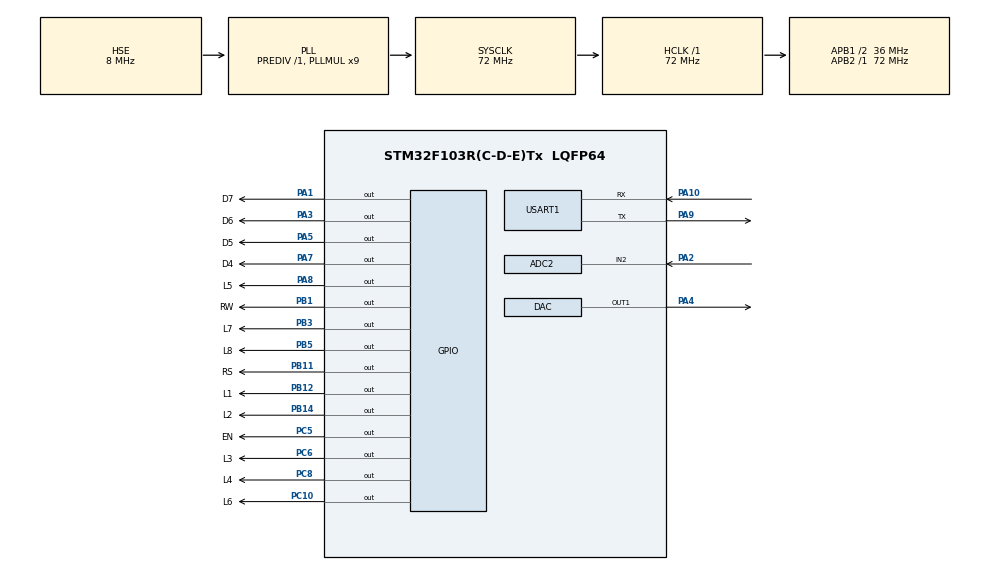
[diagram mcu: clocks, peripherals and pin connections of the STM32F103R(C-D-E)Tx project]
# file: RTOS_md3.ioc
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ADC1.Channel-1\#ChannelRegularConversion=ADC_CHANNEL_TEMPSENSOR
ADC1.ContinuousConvMode=ENABLE
ADC1.ExternalTrigConv=ADC_SOFTWARE_START
ADC1.NbrOfConversion=1
ADC1.NbrOfConversionFlag=1
ADC1.Rank-1\#ChannelRegularConversion=1
ADC1.SamplingTime-1\#ChannelRegularConversion=ADC_SAMPLETIME_239CYCLES_5
ADC1.master=1
ADC2.Channel-1\#ChannelRegularConversion=ADC_CHANNEL_2
ADC2.NbrOfConversionFlag=1
ADC2.Rank-1\#ChannelRegularConversion=1
ADC2.SamplingTime-1\#ChannelRegularConversion=ADC_SAMPLETIME_1CYCLE_5
DAC.DAC_Trigger=DAC_TRIGGER_T2_TRGO
Dma.DAC_CH1.0.Direction=DMA_MEMORY_TO_PERIPH
Dma.DAC_CH1.0.Instance=DMA2_Channel3
Dma.DAC_CH1.0.MemDataAlignment=DMA_MDATAALIGN_WORD
Dma.DAC_CH1.0.MemInc=DMA_MINC_ENABLE
Dma.DAC_CH1.0.Mode=DMA_CIRCULAR
Dma.DAC_CH1.0.PeriphDataAlignment=DMA_PDATAALIGN_WORD
Dma.DAC_CH1.0.PeriphInc=DMA_PINC_DISABLE
Dma.DAC_CH1.0.Priority=DMA_PRIORITY_LOW
Dma.Request0=DAC_CH1
FREERTOS.Tasks01=Task01,0,300,Task01_8led,Default,NULL,Dynamic,NULL,NULL;Task02,3,3000,Task02_temp,Default,NULL,Dynamic,NULL,NULL;Task03,0,200,Task03_DAC,Default,NULL,Dynamic,NULL,NULL;Task04,3,2500,Task04_LCD,Default,NULL,Dynamic,NULL,NULL
FREERTOS.configMINIMAL_STACK_SIZE=64
FREERTOS.configTOTAL_HEAP_SIZE=32768
FREERTOS.configUSE_NEWLIB_REENTRANT=1
Mcu.Family=STM32F1
Mcu.Name=STM32F103R(C-D-E)Tx
Mcu.Package=LQFP64
NVIC.DMA2_Channel3_IRQn=true\:5\:0\:false\:false\:true\:true\:false\:true\:true
NVIC.PriorityGroup=NVIC_PRIORITYGROUP_4
PA1.GPIO_Label=D7
PA1.Signal=GPIO_Output
PA10.Mode=Asynchronous
PA10.Signal=USART1_RX
PA13.Mode=Serial_Wire
PA13.Signal=SYS_JTMS-SWDIO
PA14.Mode=Serial_Wire
PA14.Signal=SYS_JTCK-SWCLK
PA2.Signal=ADCx_IN2
PA3.GPIO_Label=D6
PA3.Signal=GPIO_Output
PA4.Signal=COMP_DAC1_group
PA5.GPIO_Label=D5
PA5.Signal=GPIO_Output
PA7.GPIO_Label=D4
PA7.Signal=GPIO_Output
PA8.GPIO_Label=L5
PA8.Signal=GPIO_Output
PA9.Mode=Asynchronous
PA9.Signal=USART1_TX
PB1.GPIO_Label=RW
PB1.Signal=GPIO_Output
PB11.GPIO_Label=RS
PB11.Signal=GPIO_Output
PB12.GPIO_Label=L1
PB12.Signal=GPIO_Output
PB14.GPIO_Label=L2
PB14.Signal=GPIO_Output
PB3.GPIO_Label=L7
PB3.Signal=GPIO_Output
PB5.GPIO_Label=L8
PB5.Signal=GPIO_Output
PC10.GPIO_Label=L6
PC10.Signal=GPIO_Output
PC5.GPIO_Label=EN
PC5.Signal=GPIO_Output
PC6.GPIO_Label=L3
PC6.Signal=GPIO_Output
PC8.GPIO_Label=L4
PC8.Signal=GPIO_Output
PD0-OSC_IN.Mode=HSE-External-Oscillator
PD0-OSC_IN.Signal=RCC_OSC_IN
PD1-OSC_OUT.Mode=HSE-External-Oscillator
PD1-OSC_OUT.Signal=RCC_OSC_OUT
ProjectManager.HeapSize=0x200
ProjectManager.StackSize=0x400
ProjectManager.TargetToolchain=STM32CubeIDE
RCC.ADCPresc=RCC_ADCPCLK2_DIV6
RCC.AHBFreq_Value=72000000
RCC.APB1CLKDivider=RCC_HCLK_DIV2
RCC.APB1Freq_Value=36000000
RCC.APB1TimFreq_Value=72000000
RCC.APB2Freq_Value=72000000
RCC.APB2TimFreq_Value=72000000
RCC.HCLKFreq_Value=72000000
RCC.PLLMUL=RCC_PLL_MUL9
RCC.PLLSourceVirtual=RCC_PLLSOURCE_HSE
RCC.SYSCLKFreq_VALUE=72000000
RCC.SYSCLKSource=RCC_SYSCLKSOURCE_PLLCLK
RCC.USBFreq_Value=72000000
SH.ADCx_IN2.0=ADC2_IN2,IN2
SH.COMP_DAC1_group.0=DAC_OUT1,DAC_OUT1
TIM2.AutoReloadPreload=TIM_AUTORELOAD_PRELOAD_ENABLE
TIM2.Period=1999
TIM2.Prescaler=179
TIM2.TIM_MasterOutputTrigger=TIM_TRGO_UPDATE
USART1.VirtualMode=VM_ASYNC
VP_ADC1_TempSens_Input.Mode=IN-TempSens
VP_FREERTOS_VS_CMSIS_V1.Mode=CMSIS_V1
VP_TIM2_VS_ClockSourceINT.Mode=Internal
board=custom

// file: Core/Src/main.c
/* USER CODE BEGIN Header */
/**
  ******************************************************************************
  * @file           : main.c
  * @brief          : Main program body
  ******************************************************************************
  * @attention
  *
  * Copyright (c) 2023 STMicroelectronics.
  * All rights reserved.
  *
  * This software is licensed under terms that can be found in the LICENSE file
  * in the root directory of this software component.
  * If no LICENSE file comes with this software, it is provided AS-IS.
  *
  ******************************************************************************
  */
/* USER CODE END Header */
#include "main.h"
#include "cmsis_os.h"

/* USER CODE BEGIN Includes */
#define NS 100
#define PI 3.14159254
/* USER CODE END Includes */

ADC_HandleTypeDef hadc1;
ADC_HandleTypeDef hadc2;

DAC_HandleTypeDef hdac;
DMA_HandleTypeDef hdma_dac_ch1;

TIM_HandleTypeDef htim2;

UART_HandleTypeDef huart1;

osThreadId Task01Handle;
osThreadId Task02Handle;
osThreadId Task03Handle;
osThreadId Task04Handle;
/* USER CODE BEGIN PV */
float adc_value,adc_value_POT;
float vol,vol_pot;
float temp;
uint8_t data_send[25];
uint8_t data_send_LCD[16];
uint32_t value[NS];
uint8_t binary[8];
/* USER CODE END PV */

void SystemClock_Config(void);
static void MX_GPIO_Init(void);
static void MX_DMA_Init(void);
static void MX_ADC1_Init(void);
static void MX_USART1_UART_Init(void);
static void MX_DAC_Init(void);
static void MX_TIM2_Init(void);
static void MX_ADC2_Init(void);
void Task01_8led(void const * argument);
void Task02_temp(void const * argument);
void Task03_DAC(void const * argument);
void Task04_LCD(void const * argument);

/* USER CODE BEGIN 0 */
void chuyen_binary(int decimal)
{
	for(int i = 0; i < 8; i++)
	{
		binary[i]= decimal%2;
		decimal/=2;
	}
}

void get_value(void)
{
	for (int x=0; x < NS; x++){
		value[x]=(495*sin(x*2*PI/NS)+1800);//1864
	}
}

void write_To_LCD_4bits(uint8_t rs, uint8_t data){
	uint8_t i;
	HAL_GPIO_WritePin(RS_GPIO_Port, RS_Pin, rs);
	HAL_GPIO_WritePin(RW_GPIO_Port, RW_Pin, 0);
	HAL_GPIO_WritePin(EN_GPIO_Port, EN_Pin, 1);

	HAL_GPIO_WritePin(D7_GPIO_Port,D7_Pin,((data>>3)&0x01));
	HAL_GPIO_WritePin(D6_GPIO_Port,D6_Pin,((data>>2)&0x01));
	HAL_GPIO_WritePin(D5_GPIO_Port,D5_Pin,((data>>1)&0x01));
	HAL_GPIO_WritePin(D4_GPIO_Port,D4_Pin,((data>>0)&0x01));
	for(i = 0; i< 72; i++){
		asm("NOP");// delay khoảng 1-2us
	}

	HAL_GPIO_WritePin(EN_GPIO_Port, EN_Pin, 0);
	HAL_Delay(2);
}

void send_Command(uint8_t data){// vì dùng 4bit nên phải gửi 2 lần, nếu dùng 8bit thì chỉ cần gửi 1 lần
	write_To_LCD_4bits(0, (data>>4)&0x0f);
	write_To_LCD_4bits(0, (data>>0)&0x0f);
	HAL_Delay(2);
}

void lcd_Send_Data(uint8_t data){ // hàm viết được 1 kí tự
	write_To_LCD_4bits(1, (data>>4)&0x0f);
	write_To_LCD_4bits(1, (data>>0)&0x0f);
	HAL_Delay(2);
}

void lcd_display(uint8_t *data, uint8_t len)
{
	for (uint8_t j = 0; j < len; j++)
	{
		lcd_Send_Data(data[j]);
	}
}

void lcd_gotoxy(uint8_t row, uint8_t col){//set địa chỉ con tr�?
	uint8_t coordinates;
	switch(row){
	case 0:
		coordinates = col | 0x80;
		break;
	case 1:
		coordinates = col | 0xC0;
		break;
	default: coordinates = col | 0x80;
	}
	send_Command(coordinates);
}

void lcd_clear()
{
	send_Command(0x01);
	HAL_Delay(20);
}

void lcd_init(void)
{

	send_Command(0x28); // gui che do 4 bit 2line
	HAL_Delay(40);
	send_Command(0x28); // gui che do 4 bit 2line
	HAL_Delay(40);
	send_Command(0x0C); // hien thi lcd tat con tro
	HAL_Delay(1);
	send_Command(0x06); // che do tu tang con tro
	HAL_Delay(1);
	send_Command(0x01); // xoa man hinh
	HAL_Delay(20);
}
/* USER CODE END 0 */

int main(void)
{

  /* MCU Configuration--------------------------------------------------------*/

  /* Reset of all peripherals, Initializes the Flash interface and the Systick. */
  HAL_Init();

  /* Configure the system clock */
  SystemClock_Config();

  /* Initialize all configured peripherals */
  MX_GPIO_Init();
  MX_DMA_Init();
  MX_ADC1_Init();
  MX_USART1_UART_Init();
  MX_DAC_Init();
  MX_TIM2_Init();
  MX_ADC2_Init();

  /* Create the thread(s) */
  /* definition and creation of Task01 */
  osThreadDef(Task01, Task01_8led, osPriorityNormal, 0, 300);
  Task01Handle = osThreadCreate(osThread(Task01), NULL);

  /* definition and creation of Task02 */
  osThreadDef(Task02, Task02_temp, osPriorityRealtime, 0, 3000);
  Task02Handle = osThreadCreate(osThread(Task02), NULL);

  /* definition and creation of Task03 */
  osThreadDef(Task03, Task03_DAC, osPriorityNormal, 0, 200);
  Task03Handle = osThreadCreate(osThread(Task03), NULL);

  /* definition and creation of Task04 */
  osThreadDef(Task04, Task04_LCD, osPriorityRealtime, 0, 2500);
  Task04Handle = osThreadCreate(osThread(Task04), NULL);

  /* Start scheduler */
  osKernelStart();

  /* We should never get here as control is now taken by the scheduler */
  /* Infinite loop */
  while (1)
  {

  }
}

void SystemClock_Config(void)
{
  RCC_OscInitTypeDef RCC_OscInitStruct = {0};
  RCC_ClkInitTypeDef RCC_ClkInitStruct = {0};
  RCC_PeriphCLKInitTypeDef PeriphClkInit = {0};

  /** Initializes the RCC Oscillators according to the specified parameters
  * in the RCC_OscInitTypeDef structure.
  */
  RCC_OscInitStruct.OscillatorType = RCC_OSCILLATORTYPE_HSE;
  RCC_OscInitStruct.HSEState = RCC_HSE_ON;
  RCC_OscInitStruct.HSEPredivValue = RCC_HSE_PREDIV_DIV1;
  RCC_OscInitStruct.HSIState = RCC_HSI_ON;
  RCC_OscInitStruct.PLL.PLLState = RCC_PLL_ON;
  RCC_OscInitStruct.PLL.PLLSource = RCC_PLLSOURCE_HSE;
  RCC_OscInitStruct.PLL.PLLMUL = RCC_PLL_MUL9;
  if (HAL_RCC_OscConfig(&RCC_OscInitStruct) != HAL_OK)
  {
    Error_Handler();
  }

  /** Initializes the CPU, AHB and APB buses clocks
  */
  RCC_ClkInitStruct.ClockType = RCC_CLOCKTYPE_HCLK|RCC_CLOCKTYPE_SYSCLK
                              |RCC_CLOCKTYPE_PCLK1|RCC_CLOCKTYPE_PCLK2;
  RCC_ClkInitStruct.SYSCLKSource = RCC_SYSCLKSOURCE_PLLCLK;
  RCC_ClkInitStruct.AHBCLKDivider = RCC_SYSCLK_DIV1;
  RCC_ClkInitStruct.APB1CLKDivider = RCC_HCLK_DIV2;
  RCC_ClkInitStruct.APB2CLKDivider = RCC_HCLK_DIV1;

  if (HAL_RCC_ClockConfig(&RCC_ClkInitStruct, FLASH_LATENCY_2) != HAL_OK)
  {
    Error_Handler();
  }
  PeriphClkInit.PeriphClockSelection = RCC_PERIPHCLK_ADC;
  PeriphClkInit.AdcClockSelection = RCC_ADCPCLK2_DIV6;
  if (HAL_RCCEx_PeriphCLKConfig(&PeriphClkInit) != HAL_OK)
  {
    Error_Handler();
  }
}

static void MX_ADC1_Init(void)
{

  ADC_ChannelConfTypeDef sConfig = {0};

  /** Common config
  */
  hadc1.Instance = ADC1;
  hadc1.Init.ScanConvMode = ADC_SCAN_DISABLE;
  hadc1.Init.ContinuousConvMode = ENABLE;
  hadc1.Init.DiscontinuousConvMode = DISABLE;
  hadc1.Init.ExternalTrigConv = ADC_SOFTWARE_START;
  hadc1.Init.DataAlign = ADC_DATAALIGN_RIGHT;
  hadc1.Init.NbrOfConversion = 1;
  if (HAL_ADC_Init(&hadc1) != HAL_OK)
  {
    Error_Handler();
  }

  /** Configure Regular Channel
  */
  sConfig.Channel = ADC_CHANNEL_TEMPSENSOR;
  sConfig.Rank = ADC_REGULAR_RANK_1;
  sConfig.SamplingTime = ADC_SAMPLETIME_239CYCLES_5;
  if (HAL_ADC_ConfigChannel(&hadc1, &sConfig) != HAL_OK)
  {
    Error_Handler();
  }

}

static void MX_ADC2_Init(void)
{

  ADC_ChannelConfTypeDef sConfig = {0};

  /** Common config
  */
  hadc2.Instance = ADC2;
  hadc2.Init.ScanConvMode = ADC_SCAN_DISABLE;
  hadc2.Init.ContinuousConvMode = DISABLE;
  hadc2.Init.DiscontinuousConvMode = DISABLE;
  hadc2.Init.ExternalTrigConv = ADC_SOFTWARE_START;
  hadc2.Init.DataAlign = ADC_DATAALIGN_RIGHT;
  hadc2.Init.NbrOfConversion = 1;
  if (HAL_ADC_Init(&hadc2) != HAL_OK)
  {
    Error_Handler();
  }

  /** Configure Regular Channel
  */
  sConfig.Channel = ADC_CHANNEL_2;
  sConfig.Rank = ADC_REGULAR_RANK_1;
  sConfig.SamplingTime = ADC_SAMPLETIME_1CYCLE_5;
  if (HAL_ADC_ConfigChannel(&hadc2, &sConfig) != HAL_OK)
  {
    Error_Handler();
  }

}

static void MX_DAC_Init(void)
{

  DAC_ChannelConfTypeDef sConfig = {0};

  /** DAC Initialization
  */
  hdac.Instance = DAC;
  if (HAL_DAC_Init(&hdac) != HAL_OK)
  {
    Error_Handler();
  }

  /** DAC channel OUT1 config
  */
  sConfig.DAC_Trigger = DAC_TRIGGER_T2_TRGO;
  sConfig.DAC_OutputBuffer = DAC_OUTPUTBUFFER_ENABLE;
  if (HAL_DAC_ConfigChannel(&hdac, &sConfig, DAC_CHANNEL_1) != HAL_OK)
  {
    Error_Handler();
  }

}

static void MX_TIM2_Init(void)
{

  TIM_ClockConfigTypeDef sClockSourceConfig = {0};
  TIM_MasterConfigTypeDef sMasterConfig = {0};

  htim2.Instance = TIM2;
  htim2.Init.Prescaler = 179;
  htim2.Init.CounterMode = TIM_COUNTERMODE_UP;
  htim2.Init.Period = 1999;
  htim2.Init.ClockDivision = TIM_CLOCKDIVISION_DIV1;
  htim2.Init.AutoReloadPreload = TIM_AUTORELOAD_PRELOAD_ENABLE;
  if (HAL_TIM_Base_Init(&htim2) != HAL_OK)
  {
    Error_Handler();
  }
  sClockSourceConfig.ClockSource = TIM_CLOCKSOURCE_INTERNAL;
  if (HAL_TIM_ConfigClockSource(&htim2, &sClockSourceConfig) != HAL_OK)
  {
    Error_Handler();
  }
  sMasterConfig.MasterOutputTrigger = TIM_TRGO_UPDATE;
  sMasterConfig.MasterSlaveMode = TIM_MASTERSLAVEMODE_DISABLE;
  if (HAL_TIMEx_MasterConfigSynchronization(&htim2, &sMasterConfig) != HAL_OK)
  {
    Error_Handler();
  }

}

static void MX_USART1_UART_Init(void)
{

  huart1.Instance = USART1;
  huart1.Init.BaudRate = 115200;
  huart1.Init.WordLength = UART_WORDLENGTH_8B;
  huart1.Init.StopBits = UART_STOPBITS_1;
  huart1.Init.Parity = UART_PARITY_NONE;
  huart1.Init.Mode = UART_MODE_TX_RX;
  huart1.Init.HwFlowCtl = UART_HWCONTROL_NONE;
  huart1.Init.OverSampling = UART_OVERSAMPLING_16;
  if (HAL_UART_Init(&huart1) != HAL_OK)
  {
    Error_Handler();
  }

}

static void MX_DMA_Init(void)
{

  /* DMA controller clock enable */
  __HAL_RCC_DMA2_CLK_ENABLE();

  /* DMA interrupt init */
  /* DMA2_Channel3_IRQn interrupt configuration */
  HAL_NVIC_SetPriority(DMA2_Channel3_IRQn, 5, 0);
  HAL_NVIC_EnableIRQ(DMA2_Channel3_IRQn);

}

static void MX_GPIO_Init(void)
{
  GPIO_InitTypeDef GPIO_InitStruct = {0};

  /* GPIO Ports Clock Enable */
  __HAL_RCC_GPIOD_CLK_ENABLE();
  __HAL_RCC_GPIOA_CLK_ENABLE();
  __HAL_RCC_GPIOC_CLK_ENABLE();
  __HAL_RCC_GPIOB_CLK_ENABLE();

  /*Configure GPIO pin Output Level */
  HAL_GPIO_WritePin(GPIOA, D7_Pin|D6_Pin|D5_Pin|D4_Pin
                          |L5_Pin, GPIO_PIN_RESET);

  /*Configure GPIO pin Output Level */
  HAL_GPIO_WritePin(GPIOC, EN_Pin|L3_Pin|L4_Pin|L6_Pin, GPIO_PIN_RESET);

  /*Configure GPIO pin Output Level */
  HAL_GPIO_WritePin(GPIOB, RW_Pin|RS_Pin|L1_Pin|L2_Pin
                          |L7_Pin|L8_Pin, GPIO_PIN_RESET);

  /*Configure GPIO pins : D7_Pin D6_Pin D5_Pin D4_Pin
                           L5_Pin */
  GPIO_InitStruct.Pin = D7_Pin|D6_Pin|D5_Pin|D4_Pin
                          |L5_Pin;
  GPIO_InitStruct.Mode = GPIO_MODE_OUTPUT_PP;
  GPIO_InitStruct.Pull = GPIO_NOPULL;
  GPIO_InitStruct.Speed = GPIO_SPEED_FREQ_LOW;
  HAL_GPIO_Init(GPIOA, &GPIO_InitStruct);

  /*Configure GPIO pins : EN_Pin L3_Pin L4_Pin L6_Pin */
  GPIO_InitStruct.Pin = EN_Pin|L3_Pin|L4_Pin|L6_Pin;
  GPIO_InitStruct.Mode = GPIO_MODE_OUTPUT_PP;
  GPIO_InitStruct.Pull = GPIO_NOPULL;
  GPIO_InitStruct.Speed = GPIO_SPEED_FREQ_LOW;
  HAL_GPIO_Init(GPIOC, &GPIO_InitStruct);

  /*Configure GPIO pins : RW_Pin RS_Pin L1_Pin L2_Pin
                           L7_Pin L8_Pin */
  GPIO_InitStruct.Pin = RW_Pin|RS_Pin|L1_Pin|L2_Pin
                          |L7_Pin|L8_Pin;
  GPIO_InitStruct.Mode = GPIO_MODE_OUTPUT_PP;
  GPIO_InitStruct.Pull = GPIO_NOPULL;
  GPIO_InitStruct.Speed = GPIO_SPEED_FREQ_LOW;
  HAL_GPIO_Init(GPIOB, &GPIO_InitStruct);

}

void Task01_8led(void const * argument)
{
  /* USER CODE BEGIN 5 */

  /* Infinite loop */
  for(;;)
  {
	  HAL_GPIO_TogglePin(L1_GPIO_Port, L1_Pin);
	  HAL_GPIO_TogglePin(L2_GPIO_Port, L2_Pin);
	  HAL_GPIO_TogglePin(L3_GPIO_Port, L3_Pin);
	  HAL_GPIO_TogglePin(L4_GPIO_Port, L4_Pin);
	  HAL_GPIO_TogglePin(L5_GPIO_Port, L5_Pin);
	  HAL_GPIO_TogglePin(L6_GPIO_Port, L6_Pin);
	  HAL_GPIO_TogglePin(L7_GPIO_Port, L7_Pin);
	  HAL_GPIO_TogglePin(L8_GPIO_Port, L8_Pin);
	  osDelay(1000);
  }
  /* USER CODE END 5 */
}

void Task02_temp(void const * argument)
{
  /* USER CODE BEGIN Task02_temp */
  /* Infinite loop */
  for(;;)
  {
	HAL_ADC_Start(&hadc1);
	HAL_ADC_PollForConversion(&hadc1, 20);
	adc_value = HAL_ADC_GetValue(&hadc1);
	vol = adc_value*3.3/4095;
	temp = ((1.43 - vol)/(4.3/1000)) + 25;
	sprintf(&data_send[0],"Nhiet Do CPU: %.2f C \r\n", temp);
	HAL_UART_Transmit(&huart1,&data_send[0],sizeof(data_send),10);
	osDelay(1000);
  }
  /* USER CODE END Task02_temp */
}

void Task03_DAC(void const * argument)
{
  /* USER CODE BEGIN Task03_DAC */
	HAL_DAC_Start(&hdac, DAC1_CHANNEL_1);
	get_value();
	HAL_TIM_Base_Start(&htim2);
	HAL_DAC_Start_DMA(&hdac,DAC_CHANNEL_1,value,100,DAC_ALIGN_12B_R);
  /* Infinite loop */
  for(;;)
  {
    osDelay(1);
  }
  /* USER CODE END Task03_DAC */
}

void Task04_LCD(void const * argument)
{
  /* USER CODE BEGIN Task04_LCD */
	lcd_init();
  /* Infinite loop */
  for(;;)
  {
	lcd_clear();
	HAL_ADC_Start(&hadc2);
	HAL_ADC_PollForConversion(&hadc2, 10);
	adc_value_POT = HAL_ADC_GetValue(&hadc2);
	vol_pot = adc_value_POT*3.3/4095;
	sprintf(&data_send_LCD[0]," DIEN AP %.2f V ", vol_pot);
	lcd_gotoxy(0, 0);
	lcd_display(&data_send_LCD,16);
    osDelay(500);
  }
  /* USER CODE END Task04_LCD */
}

void Error_Handler(void)
{
  __disable_irq();
  while (1)
  {
  }
}
